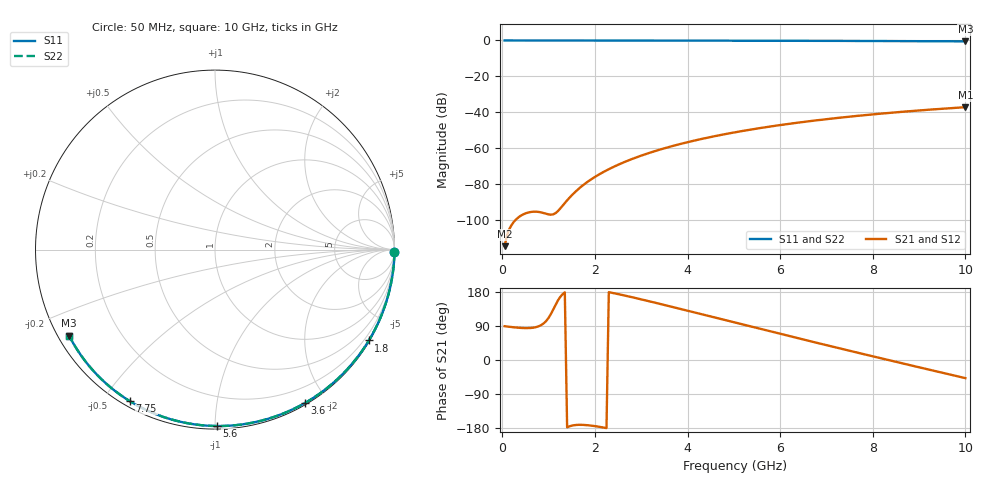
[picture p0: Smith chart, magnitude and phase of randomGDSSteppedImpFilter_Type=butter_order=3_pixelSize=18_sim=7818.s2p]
! freq	dB(S11)	phase(S11)	dB(S12)	phase(S12)
!  dB(S21)	phase(S21)	dB(S22)	phase(S22)
!S-par simulation data
#  GHz  S  DB  R 50
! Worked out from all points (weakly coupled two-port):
!   200 points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, 50 MHz to 10 GHz, reference 50 ohm
!   highest |S21| = -37.19 dB at 10 GHz (marker M1); lowest = -114.6 dB at 50 MHz (marker M2)
!   lowest |S11| = -0.5 dB at 10 GHz (marker M3), VSWR 34.47, Z = 1.56 - j13.6 ohm
!   |S11| at or under -10 dB: nowhere
!   |S22| runs from -0.5 to 0.0 dB; largest |S21 - S12| = 0
!   S11 on the Smith chart (normalised r, x): 50 MHz: open; 1.8 GHz: 0.03, -3.66; 3.6 GHz: 0.02, -1.75; 5.6 GHz: 0.02, -1.01; 7.75 GHz: 0.02, -0.59; 10 GHz: 0.03, -0.27
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0.05  -0.00 -0.9  -114.62 89.2  -114.62 89.2  -0.00 -0.9
0.45  -0.01 -7.8  -96.92 84.3  -96.92 84.3  -0.01 -7.8
0.9  -0.02 -15.4  -96.20 97.3  -96.20 97.3  -0.02 -15.4
1.3  -0.03 -22.2  -92.15 173.3  -92.15 173.3  -0.03 -22.2
1.75  -0.04 -29.7  -80.51 -171.2  -80.51 -171.2  -0.04 -29.7
1.8  -0.04 -30.5  -79.53 -171.6  -79.53 -171.6  -0.04 -30.5
1.95  -0.04 -33.0  -76.86 -173.6  -76.86 -173.6  -0.04 -33.0
2.1  -0.05 -35.5  -74.51 -176.4  -74.51 -176.4  -0.05 -35.5
2.3  -0.05 -38.8  -71.73 179.1  -71.73 179.1  -0.05 -38.8
2.5  -0.05 -42.1  -69.27 174.0  -69.27 174.0  -0.05 -42.1
2.9  -0.06 -48.5  -65.09 162.9  -65.09 162.9  -0.06 -48.5
3.4  -0.08 -56.5  -60.83 148.2  -60.83 148.2  -0.08 -56.4
3.6  -0.08 -59.6  -59.35 142.2  -59.35 142.2  -0.08 -59.6
4.3  -0.10 -70.3  -54.89 120.9  -54.89 120.9  -0.10 -70.3
5.05  -0.13 -81.5  -51.05 98.0  -51.05 98.0  -0.13 -81.5
5.6  -0.15 -89.5  -48.68 81.3  -48.68 81.3  -0.15 -89.5
6.15  -0.17 -97.3  -46.60 64.6  -46.60 64.6  -0.17 -97.3
6.7  -0.20 -105.0  -44.77 48.1  -44.77 48.1  -0.20 -105.0
7.75  -0.28 -119.3  -41.81 17.0  -41.81 17.0  -0.28 -119.3
8.35  -0.33 -127.3  -40.37 -0.5  -40.37 -0.5  -0.33 -127.3
9.2  -0.41 -138.7  -38.60 -25.0  -38.60 -25.0  -0.41 -138.7
10  -0.50 -149.5  -37.19 -47.9  -37.19 -47.9  -0.50 -149.5
